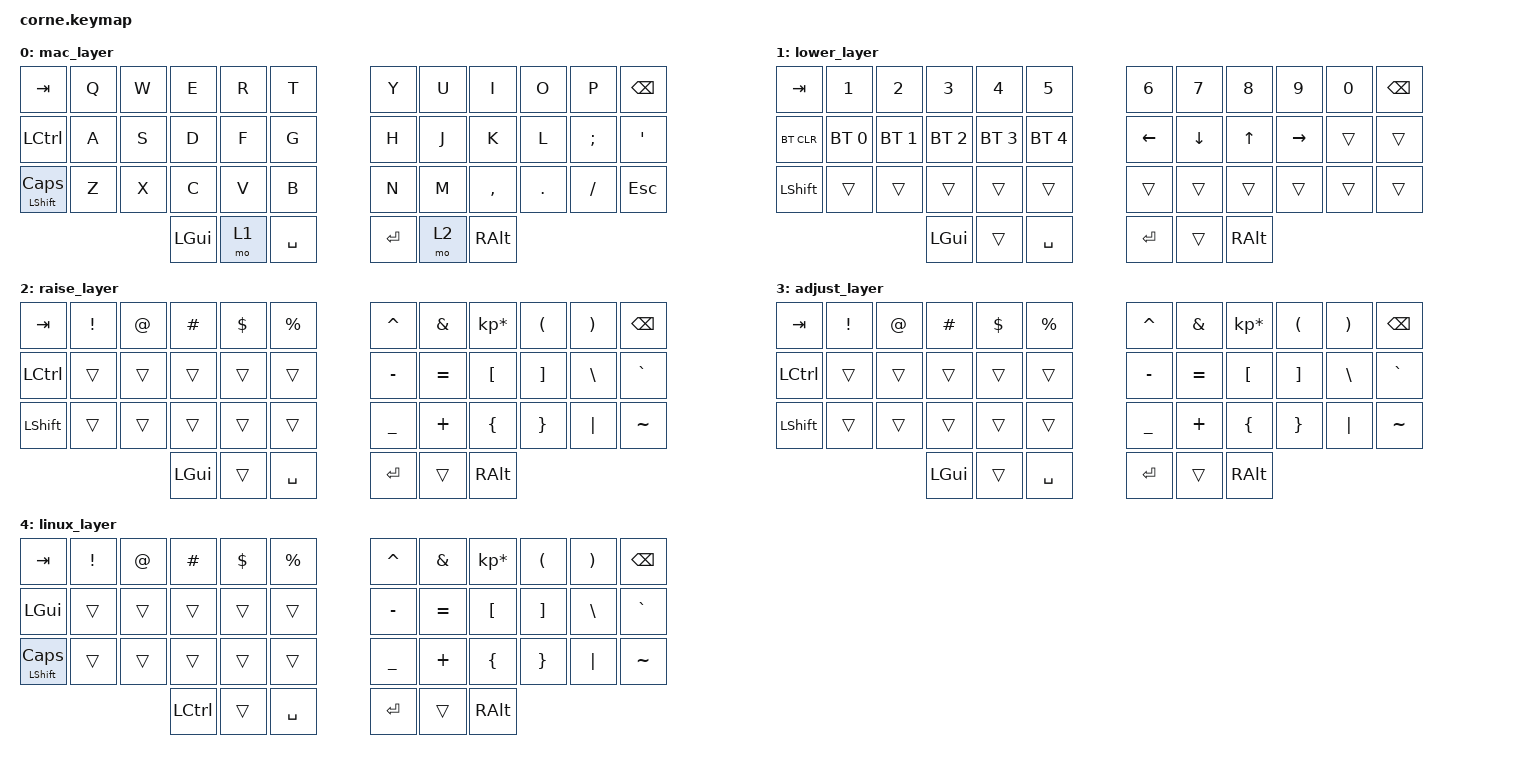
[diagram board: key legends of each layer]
/*
 * Copyright (c) 2020 The ZMK Contributors
 *
 * SPDX-License-Identifier: MIT
 */

#include <behaviors.dtsi>
#include <dt-bindings/zmk/keys.h>
#include <dt-bindings/zmk/bt.h>

#include "common/headers.h"

/ {
    behaviors {
        #include "common/behaviors.dtsi"
    };
    conditional_layers {
        #include "common/conditional_layers.dtsi"
    };
    macros {
        #include "common/macros.dtsi"
    };

    keymap {
        compatible = "zmk,keymap";

        mac_layer {
// -----------------------------------------------------------------------------------------
// |  TAB |  Q  |  W  |  E  |  R  |  T  |   |  Y  |  U   |  I  |  O  |  P  | BKSP |
// | CTRL |  A  |  S  |  D  |  F  |  G  |   |  H  |  J   |  K  |  L  |  ;  |  '   |
// | SHFT |  Z  |  X  |  C  |  V  |  B  |   |  N  |  M   |  ,  |  .  |  /  | ESC  |
//                    | GUI | LWR | SPC |   | ENT | RSE  | ALT |
            bindings = <
&kp TAB   &kp Q &kp W &kp E &kp R &kp T   &kp Y &kp U  &kp I     &kp O   &kp P    &kp BSPC
&kp LCTRL &kp A &kp S &kp D &kp F &kp G   &kp H &kp J  &kp K     &kp L   &kp SEMI &kp SQT
&mt LEFT_SHIFT CAPSLOCK   &kp Z &kp X &kp C &kp V &kp B   &kp N &kp M  &kp COMMA &kp DOT &kp FSLH &kp ESC
          &kp LGUI &mo 1 &kp SPACE   &kp RET &mo 2 &kp RALT
            >;
        };
        lower_layer {
// -----------------------------------------------------------------------------------------
// |  TAB |  1  |  2  |  3  |  4  |  5  |   |  6  |  7  |  8  |  9  |  0  | BKSP |
// | BTCLR| BT1 | BT2 | BT3 | BT4 | BT5 |   | LFT | DWN |  UP | RGT |     |      |
// | SHFT |     |     |     |     |     |   |     |     |     |     |     |      |
//                    | GUI |     | SPC |   | ENT |     | ALT |
            bindings = <
&kp TAB    &kp N1       &kp N2       &kp N3       &kp N4       &kp N5         &kp N6   &kp N7   &kp N8 &kp N9    &kp N0 &kp BSPC
&bt BT_CLR &bt BT_SEL 0 &bt BT_SEL 1 &bt BT_SEL 2 &bt BT_SEL 3 &bt BT_SEL 4   &kp LEFT &kp DOWN &kp UP &kp RIGHT &trans &trans
&kp LSHFT  &trans       &trans       &trans       &trans       &trans         &trans   &trans   &trans &trans    &trans &trans
                            &kp LGUI     &trans       &kp SPACE      &kp RET  &trans   &kp RALT
            >;
        };

        raise_layer {
// -----------------------------------------------------------------------------------------
// |  TAB |  !  |  @  |  #  |  $  |  %  |   |  ^  |  &  |  *  |  (  |  )  | BKSP |
// | CTRL |     |     |     |     |     |   |  -  |  =  |  [  |  ]  |  \  |  `   |
// | SHFT |     |     |     |     |     |   |  _  |  +  |  {  |  }  | "|" |  ~   |
//                    | GUI |     | SPC |   | ENT |     | ALT |
            bindings = <
&kp  TAB  &kp EXCL &kp AT &kp HASH &kp DLLR &kp PRCNT   &kp CARET &kp AMPS  &kp KP_MULTIPLY &kp LPAR &kp RPAR &kp BSPC
&kp LCTRL &trans   &trans &trans   &trans   &trans      &kp MINUS &kp EQUAL &kp LBKT        &kp RBKT &kp BSLH &kp GRAVE
&kp LSHFT &trans   &trans &trans   &trans   &trans      &kp UNDER &kp PLUS  &kp LBRC        &kp RBRC &kp PIPE &kp TILDE
                    &kp LGUI &trans   &kp SPACE   &kp RET   &trans    &kp RALT
            >;
        };
        adjust_layer {
// -----------------------------------------------------------------------------------------
// |  TAB |  !  |  @  |  #  |  $  |  %  |   |  ^  |  &  |  *  |  (  |  )  | BKSP |
// | CTRL |     |     |     |     |     |   |  -  |  =  |  [  |  ]  |  \  |  `   |
// | SHFT |     |     |     |     |     |   |  _  |  +  |  {  |  }  | "|" |  ~   |
//                    | GUI |     | SPC |   | ENT |     | ALT |
            bindings = <
&kp  TAB  &kp EXCL &kp AT &kp HASH &kp DLLR &kp PRCNT   &kp CARET &kp AMPS  &kp KP_MULTIPLY &kp LPAR &kp RPAR &kp BSPC
&kp LCTRL &trans   &trans &trans   &trans   &trans      &kp MINUS &kp EQUAL &kp LBKT        &kp RBKT &kp BSLH &kp GRAVE
&kp LSHFT &trans   &trans &trans   &trans   &trans      &kp UNDER &kp PLUS  &kp LBRC        &kp RBRC &kp PIPE &kp TILDE
                    &kp LGUI &trans   &kp SPACE   &kp RET   &trans    &kp RALT
            >;
        };
        linux_layer {
// -----------------------------------------------------------------------------------------
// |  TAB |  !  |  @  |  #  |  $  |  %  |   |  ^  |  &  |  *  |  (  |  )  | BKSP |
// | CTRL |     |     |     |     |     |   |  -  |  =  |  [  |  ]  |  \  |  `   |
// | SHFT |     |     |     |     |     |   |  _  |  +  |  {  |  }  | "|" |  ~   |
//                    | GUI |     | SPC |   | ENT |     | ALT |
            bindings = <
&kp  TAB  &kp EXCL &kp AT &kp HASH &kp DLLR &kp PRCNT   &kp CARET &kp AMPS  &kp KP_MULTIPLY &kp LPAR &kp RPAR &kp BSPC
&kp LGUI  &trans   &trans &trans   &trans   &trans      &kp MINUS &kp EQUAL &kp LBKT        &kp RBKT &kp BSLH &kp GRAVE
&mt LEFT_SHIFT CAPSLOCK   &trans   &trans &trans   &trans   &trans      &kp UNDER &kp PLUS  &kp LBRC        &kp RBRC &kp PIPE &kp TILDE
                    &kp LCTRL &trans   &kp SPACE   &kp RET   &trans    &kp RALT
            >;
        };
    };
};
